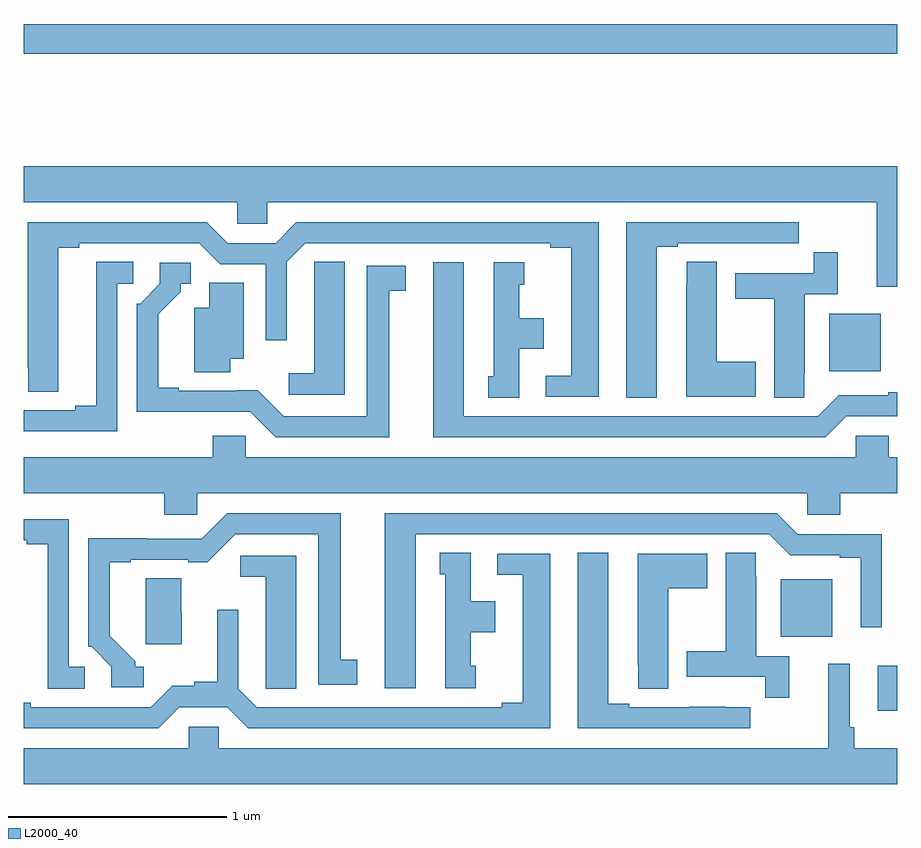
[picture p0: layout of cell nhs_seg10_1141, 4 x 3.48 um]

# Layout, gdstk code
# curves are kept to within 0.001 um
import gdstk
lib = gdstk.Library(unit=1e-6, precision=1e-09)
def R(c, l, rs):  # rectangles x0, y0, x1, y1
    for r in rs: c.add(gdstk.rectangle(r[:2], r[2:], *l))
def P(c, l, *ps):  # polygons
    for p in ps: c.add(gdstk.Polygon(p, *l))
L2000_40 = (2000, 40)

nhs_seg10_1141 = lib.new_cell('nhs_seg10_1141')
R(nhs_seg10_1141, L2000_40, [(172.91,1307.312,173,1307.518), (172.466,1307.651,172.702,1307.914), (172.688,1308.866,172.924,1309.129), (169,1310.32,173,1310.456)])
P(nhs_seg10_1141, L2000_40, [(169,1309.64),(169.977,1309.64),(169.977,1309.542),(170.115,1309.542),(170.115,1309.64),(172.907,1309.64),(172.907,1309.254),(173,1309.254),(173,1309.804),(169,1309.804)],
  [(171.898,1309.437),(171.994,1309.437),(171.994,1309.452),(172.27,1309.452),(172.27,1309.451),(172.436,1309.451),(172.436,1309.452),(172.549,1309.452),(172.549,1309.548),(171.758,1309.548),(171.758,1308.745),(171.898,1308.745)],
  [(171.634,1309.548),(170.249,1309.548),(170.153,1309.452),(169.935,1309.452),(169.839,1309.548),(169.019,1309.548),(169.02,1308.772),(169.159,1308.772),(169.159,1309.432),(169.255,1309.432),(169.255,1309.452),(169.803,1309.452),(169.899,1309.356),(170.109,1309.356),(170.109,1309.008),(170.205,1309.008),(170.205,1309.368),(170.289,1309.452),(171.41,1309.452),(171.41,1309.432),(171.506,1309.432),(171.506,1308.846),(171.39,1308.846),(171.39,1308.75),(171.634,1308.75)],
  [(172.575,1308.856),(172.576,1308.856),(172.576,1309.218),(172.727,1309.218),(172.727,1309.411),(172.618,1309.411),(172.618,1309.314),(172.259,1309.314),(172.259,1309.198),(172.436,1309.198),(172.436,1308.745),(172.575,1308.745)],
  [(169.428,1309.266),(169.501,1309.266),(169.501,1309.367),(169.331,1309.367),(169.331,1308.707),(169.235,1308.707),(169.235,1308.687),(169,1308.687),(169,1308.591),(169.428,1308.591)],
  [(172.351,1308.909),(172.174,1308.909),(172.174,1309.367),(172.035,1309.367),(172.035,1309.259),(172.034,1309.259),(172.034,1308.749),(172.351,1308.749)],
  [(170.47,1309.367),(170.331,1309.367),(170.331,1309.259),(170.33,1309.259),(170.33,1308.856),(170.214,1308.856),(170.214,1308.759),(170.47,1308.759)],
  [(172.767,1308.66),(173,1308.66),(173,1308.769),(172.958,1308.769),(172.958,1308.756),(172.731,1308.756),(172.635,1308.66),(171.016,1308.66),(171.016,1309.366),(170.876,1309.366),(170.876,1308.564),(172.671,1308.564)],
  [(171.268,1308.968),(171.382,1308.968),(171.382,1309.108),(171.268,1309.108),(171.268,1309.263),(171.292,1309.263),(171.292,1309.366),(171.152,1309.366),(171.152,1308.843),(171.128,1308.843),(171.128,1308.745),(171.268,1308.745)],
  [(170.674,1309.234),(170.749,1309.234),(170.749,1309.35),(170.57,1309.35),(170.57,1308.66),(170.19,1308.66),(170.072,1308.778),(169.711,1308.777),(169.711,1308.79),(169.615,1308.79),(169.615,1309.126),(169.72,1309.231),(169.72,1309.266),(169.765,1309.266),(169.765,1309.362),(169.623,1309.362),(169.623,1309.266),(169.533,1309.176),(169.518,1309.176),(169.518,1308.68),(170.037,1308.681),(170.154,1308.564),(170.674,1308.564)],
  [(169.945,1308.923),(170.008,1308.923),(170.008,1309.271),(169.85,1309.271),(169.85,1309.156),(169.781,1309.156),(169.781,1308.862),(169.945,1308.862)],
  [(169.794,1308.308),(172.587,1308.308),(172.587,1308.21),(172.739,1308.21),(172.739,1308.308),(173,1308.308),(173,1308.472),(172.961,1308.472),(172.961,1308.57),(172.809,1308.57),(172.809,1308.472),(170.016,1308.472),(170.016,1308.57),(169.865,1308.57),(169.865,1308.472),(169,1308.472),(169,1308.308),(169.643,1308.308),(169.643,1308.21),(169.794,1308.21)],
  [(169.549,1307.514),(169.51,1307.514),(169.51,1307.538),(169.393,1307.654),(169.393,1307.991),(169.489,1307.991),(169.489,1308.003),(169.754,1308.003),(169.754,1307.992),(169.84,1307.992),(169.968,1308.12),(170.348,1308.12),(170.348,1307.43),(170.527,1307.43),(170.527,1307.546),(170.452,1307.546),(170.452,1308.216),(169.932,1308.216),(169.815,1308.099),(169.559,1308.099),(169.559,1308.101),(169.296,1308.101),(169.296,1307.604),(169.311,1307.604),(169.401,1307.514),(169.401,1307.418),(169.549,1307.418)],
  [(170.794,1308.12),(172.413,1308.12),(172.509,1308.024),(172.736,1308.024),(172.736,1308.012),(172.832,1308.012),(172.832,1307.694),(172.929,1307.694),(172.929,1308.12),(172.545,1308.12),(172.449,1308.216),(170.654,1308.216),(170.654,1307.415),(170.794,1307.415)],
  [(169.279,1307.514),(169.206,1307.514),(169.206,1308.189),(169,1308.189),(169,1308.093),(169.013,1308.093),(169.013,1308.073),(169.109,1308.073),(169.109,1307.413),(169.279,1307.413)],
  [(172.505,1307.562),(172.354,1307.562),(172.354,1307.924),(172.353,1307.924),(172.353,1308.035),(172.214,1308.035),(172.214,1307.583),(172.037,1307.583),(172.037,1307.466),(172.396,1307.466),(172.396,1307.37),(172.505,1307.37)],
  [(171.07,1307.517),(171.046,1307.517),(171.046,1307.672),(171.16,1307.672),(171.16,1307.812),(171.046,1307.812),(171.046,1308.035),(170.906,1308.035),(170.906,1307.937),(170.93,1307.937),(170.93,1307.415),(171.07,1307.415)],
  [(172.327,1307.328),(172.214,1307.328),(172.214,1307.329),(172.048,1307.329),(172.048,1307.328),(171.772,1307.328),(171.772,1307.343),(171.676,1307.343),(171.676,1308.035),(171.536,1308.035),(171.536,1307.232),(172.327,1307.232)],
  [(171.952,1307.872),(172.129,1307.872),(172.129,1308.031),(171.812,1308.031),(171.812,1307.521),(171.813,1307.521),(171.813,1307.413),(171.952,1307.413)],
  [(169.713,1307.328),(169.931,1307.328),(170.027,1307.232),(171.412,1307.232),(171.412,1308.03),(171.168,1308.03),(171.168,1307.934),(171.284,1307.934),(171.284,1307.348),(171.188,1307.348),(171.188,1307.328),(170.067,1307.328),(169.983,1307.412),(169.983,1307.773),(169.886,1307.773),(169.886,1307.444),(169.782,1307.444),(169.782,1307.426),(169.679,1307.426),(169.581,1307.328),(169.033,1307.328),(169.033,1307.348),(169,1307.348),(169,1307.232),(169.617,1307.232)],
  [(170.248,1308.021),(169.992,1308.021),(169.992,1307.924),(170.108,1307.924),(170.108,1307.521),(170.109,1307.521),(170.109,1307.413),(170.248,1307.413)],
  [(169.723,1307.76),(169.722,1307.76),(169.722,1307.918),(169.559,1307.918),(169.559,1307.616),(169.723,1307.616)],
  [(173,1307.14),(172.802,1307.14),(172.802,1307.236),(172.782,1307.236),(172.782,1307.527),(172.685,1307.527),(172.685,1307.14),(169.893,1307.14),(169.893,1307.238),(169.755,1307.238),(169.755,1307.14),(169,1307.14),(169,1306.976),(173,1306.976)])

lib.write_gds('nhs_seg10_1141.gds')
